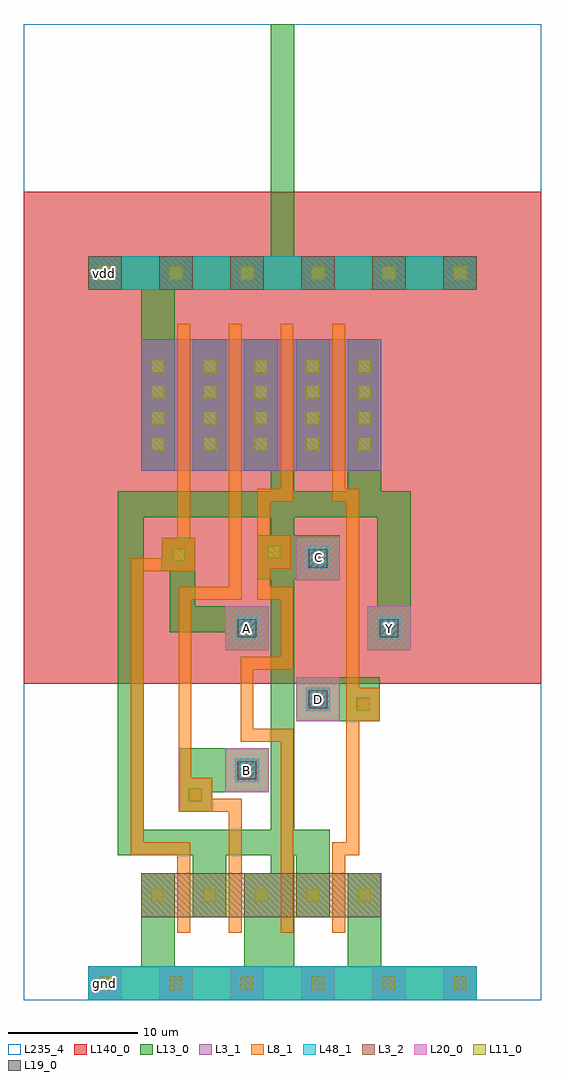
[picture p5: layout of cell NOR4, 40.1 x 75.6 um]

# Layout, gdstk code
import gdstk
lib = gdstk.Library(unit=1e-6, precision=1e-09)
def R(c, l, rs):  # rectangles x0, y0, x1, y1
    for r in rs: c.add(gdstk.rectangle(r[:2], r[2:], *l))
def A(c, l, x, y, w, h, nx, ny, dx, dy):  # array of equal rectangles
    R(c, l, [(x+i*dx, y+j*dy, x+i*dx+w, y+j*dy+h) for i in range(nx) for j in range(ny)])
def P(c, l, *ps):  # polygons
    for p in ps: c.add(gdstk.Polygon(p, *l))
L3_1 = (3, 1)
L3_2 = (3, 2)
L8_1 = (8, 1)
L11_0 = (11, 0)
L13_0 = (13, 0)
L19_0 = (19, 0)
L20_0 = (20, 0)
L48_1 = (48, 1)
L140_0 = (140, 0)
L235_4 = (235, 4)

nor4 = lib.new_cell('NOR4')
A(nor4, L3_1, 5, 0, 2.6, 2.6, 6, 1, 5.5, 0)
R(nor4, L3_1, [(9.1,41,27.7,51.2)])
A(nor4, L3_2, 5, 55, 2.6, 2.6, 6, 1, 5.5, 0)
R(nor4, L3_2, [(9.1,6.4,27.7,9.8)])
P(nor4, L8_1, [(11.9,5.2),(11.9,11.2),(8.3,11.2),(8.3,34.2),(10.7,34.2),(10.7,35.8),(11.9,35.8),(11.9,52.4),(12.9,52.4),(12.9,35.8),(13.3,35.8),(13.3,33.2),(9.3,33.2),(9.3,12.2),(12.9,12.2),(12.9,5.2)],
  [(15.9,5.2),(15.9,14.6),(12,14.6),(12,32),(15.9,32),(15.9,52.4),(16.9,52.4),(16.9,31),(13,31),(13,17.2),(14.6,17.2),(14.6,15.6),(16.9,15.6),(16.9,5.2)],
  [(19.9,5.2),(19.9,20),(16.8,20),(16.8,26.6),(19.9,26.6),(19.9,31),(18.1,31),(18.1,39.6),(19.9,39.6),(19.9,52.4),(20.9,52.4),(20.9,38.6),(19.1,38.6),(19.1,36),(20.7,36),(20.7,33.4),(19.1,33.4),(19.1,32),(20.9,32),(20.9,25.6),(17.8,25.6),(17.8,21),(20.9,21),(20.9,5.2)],
  [(23.9,5.2),(23.9,12.2),(25,12.2),(25,38.6),(23.9,38.6),(23.9,52.4),(24.9,52.4),(24.9,39.6),(26,39.6),(26,24.2),(27.6,24.2),(27.6,21.6),(26,21.6),(26,11.2),(24.9,11.2),(24.9,5.2)])
A(nor4, L11_0, 5.8, 0.8, 1, 1, 6, 2, 5.5, 55)
A(nor4, L11_0, 9.9, 42.6, 1, 1, 1, 4, 0, 2)
A(nor4, L11_0, 25.9, 42.6, 1, 1, 1, 4, 0, 2)
R(nor4, L11_0, [(9.9,7.6,10.9,8.6), (13.9,7.6,14.9,8.6), (13.9,7.6,14.9,8.6), (17.9,7.6,18.9,8.6), (17.9,7.6,18.9,8.6), (21.9,7.6,22.9,8.6), (21.9,7.6,22.9,8.6), (25.9,7.6,26.9,8.6), (12.8,15.4,13.8,16.4), (25.8,22.4,26.8,23.4), (11.5,34,12.5,35), (18.9,34.2,19.9,35.2), (13.9,42.6,14.9,43.6), (13.9,42.6,14.9,43.6), (17.9,42.6,18.9,43.6), (17.9,42.6,18.9,43.6), (21.9,42.6,22.9,43.6), (21.9,42.6,22.9,43.6), (13.9,44.6,14.9,45.6), (13.9,44.6,14.9,45.6), (17.9,44.6,18.9,45.6), (17.9,44.6,18.9,45.6), (21.9,44.6,22.9,45.6), (21.9,44.6,22.9,45.6), (13.9,46.6,14.9,47.6), (13.9,46.6,14.9,47.6), (17.9,46.6,18.9,47.6), (17.9,46.6,18.9,47.6), (21.9,46.6,22.9,47.6), (21.9,46.6,22.9,47.6), (13.9,48.6,14.9,49.6), (13.9,48.6,14.9,49.6), (17.9,48.6,18.9,49.6), (17.9,48.6,18.9,49.6), (21.9,48.6,22.9,49.6), (21.9,48.6,22.9,49.6)])
R(nor4, L13_0, [(21.1,21.6,27.6,25), (13.1,41,15.7,51.2), (21.1,41,23.7,51.2)])
P(nor4, L13_0, [(12,14.6),(12,19.5),(19,19.5),(19,16.1),(14.6,16.1),(14.6,14.6)],
  [(15.6,27.1),(15.6,28.5),(11.3,28.5),(11.3,33.2),(10.7,33.2),(10.7,35.8),(13.3,35.8),(13.3,30.5),(19,30.5),(19,27.1)],
  [(5,0),(5,2.6),(9.1,2.6),(9.1,9.8),(11.7,9.8),(11.7,2.6),(17.1,2.6),(17.1,9.8),(19.15,9.8),(19.15,11.2),(15.7,11.2),(15.7,6.4),(13.1,6.4),(13.1,11.2),(7.3,11.2),(7.3,37.4),(9.3,37.4),(9.3,13.2),(19.15,13.2),(19.15,32.6),(18.1,32.6),(18.1,36),(19.15,36),(19.15,37.4),(7.3,37.4),(7.3,39.4),(19.15,39.4),(19.15,41),(17.1,41),(17.1,51.2),(19.7,51.2),(19.7,41),(20.95,41),(20.95,39.4),(25.1,39.4),(25.1,51.2),(27.7,51.2),(27.7,39.4),(30,39.4),(30,27.1),(26.6,27.1),(26.6,30.5),(27.4,30.5),(27.4,37.4),(20.95,37.4),(20.95,36),(24.5,36),(24.5,32.5),(21.1,32.5),(21.1,32.6),(20.95,32.6),(20.95,13.2),(23.7,13.2),(23.7,6.4),(21.1,6.4),(21.1,11.2),(20.95,11.2),(20.95,2.6),(25.1,2.6),(25.1,9.8),(27.7,9.8),(27.7,2.6),(35.1,2.6),(35.1,0)],
  [(9.1,41),(9.1,55),(5,55),(5,57.6),(19.15,57.6),(19.15,75.6),(20.95,75.6),(20.95,57.6),(35.1,57.6),(35.1,55),(11.7,55),(11.7,41)])
R(nor4, L19_0, [(16.6,17.1,18,18.5), (22.1,22.6,23.5,24), (16.6,28.1,18,29.5), (27.6,28.1,29,29.5), (22.1,33.5,23.5,34.9)])
R(nor4, L20_0, [(15.6,16.1,19,19.5), (21.1,21.6,24.5,25), (15.6,27.1,19,30.5), (26.6,27.1,30,30.5), (21.1,32.5,24.5,35.9)])
R(nor4, L48_1, [(5,0,35.1,2.6), (16.4,16.9,18.2,18.7), (21.9,22.4,23.7,24.2), (16.4,27.9,18.2,29.7), (27.4,27.9,29.2,29.7), (21.9,33.4,23.7,35.2), (5,55,35.1,57.6)])
R(nor4, L140_0, [(0,24.5,40.1,62.6)])
R(nor4, L235_4, [(0,0,40.1,75.6)])
nor4.add(gdstk.Label('vdd', (6.3,56.3), layer=48, texttype=0))
nor4.add(gdstk.Label('C', (22.8,34.3), layer=48, texttype=0))
nor4.add(gdstk.Label('Y', (28.3,28.8), layer=48, texttype=0))
nor4.add(gdstk.Label('A', (17.3,28.8), layer=48, texttype=0))
nor4.add(gdstk.Label('D', (22.8,23.3), layer=48, texttype=0))
nor4.add(gdstk.Label('B', (17.3,17.8), layer=48, texttype=0))
nor4.add(gdstk.Label('gnd', (6.3,1.3), layer=48, texttype=0))
nor4.add(gdstk.Label('A', (17.3,28.8), layer=49, texttype=0))
nor4.add(gdstk.Label('B', (17.3,17.8), layer=49, texttype=0))
nor4.add(gdstk.Label('C', (22.8,34.2), layer=49, texttype=0))
nor4.add(gdstk.Label('D', (22.8,23.3), layer=49, texttype=0))
nor4.add(gdstk.Label('Y', (28.3,28.8), layer=49, texttype=0))

lib.write_gds('NOR4.gds')
